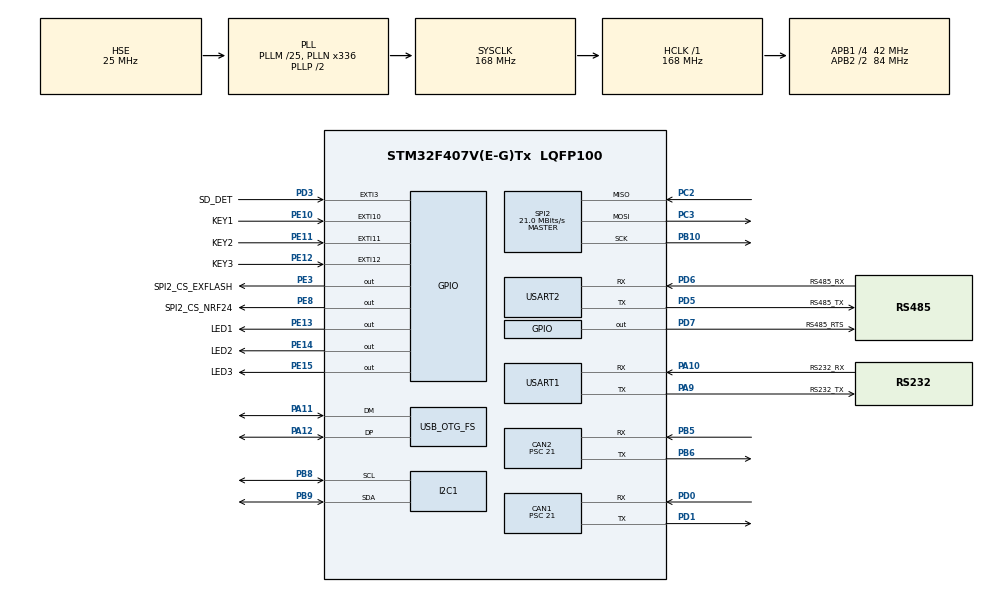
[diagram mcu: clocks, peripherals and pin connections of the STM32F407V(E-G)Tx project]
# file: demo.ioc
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CAN1.ABOM=ENABLE
CAN1.BS1=CAN_BS1_13TQ
CAN1.BS2=CAN_BS2_2TQ
CAN1.CalculateBaudRate=125000
CAN1.CalculateTimeBit=8000
CAN1.CalculateTimeQuantum=500.0
CAN1.Mode=CAN_MODE_LOOPBACK
CAN1.Prescaler=21
CAN1.RFLM=ENABLE
CAN1.SJW=CAN_SJW_2TQ
CAN1.TXFP=ENABLE
CAN2.ABOM=ENABLE
CAN2.BS1=CAN_BS1_13TQ
CAN2.BS2=CAN_BS2_2TQ
CAN2.CalculateBaudRate=125000
CAN2.CalculateTimeBit=8000
CAN2.CalculateTimeQuantum=500.0
CAN2.Mode=CAN_MODE_LOOPBACK
CAN2.NART=DISABLE
CAN2.Prescaler=21
CAN2.RFLM=ENABLE
CAN2.SJW=CAN_SJW_2TQ
CAN2.TXFP=ENABLE
Dma.Request0=USART1_RX
Dma.Request1=USART1_TX
Dma.USART1_RX.0.Direction=DMA_PERIPH_TO_MEMORY
Dma.USART1_RX.0.FIFOMode=DMA_FIFOMODE_DISABLE
Dma.USART1_RX.0.Instance=DMA2_Stream5
Dma.USART1_RX.0.MemDataAlignment=DMA_MDATAALIGN_BYTE
Dma.USART1_RX.0.MemInc=DMA_MINC_ENABLE
Dma.USART1_RX.0.Mode=DMA_CIRCULAR
Dma.USART1_RX.0.PeriphDataAlignment=DMA_PDATAALIGN_BYTE
Dma.USART1_RX.0.PeriphInc=DMA_PINC_DISABLE
Dma.USART1_RX.0.Priority=DMA_PRIORITY_LOW
Dma.USART1_TX.1.Direction=DMA_MEMORY_TO_PERIPH
Dma.USART1_TX.1.FIFOMode=DMA_FIFOMODE_DISABLE
Dma.USART1_TX.1.Instance=DMA2_Stream7
Dma.USART1_TX.1.MemDataAlignment=DMA_MDATAALIGN_BYTE
Dma.USART1_TX.1.MemInc=DMA_MINC_ENABLE
Dma.USART1_TX.1.Mode=DMA_NORMAL
Dma.USART1_TX.1.PeriphDataAlignment=DMA_PDATAALIGN_BYTE
Dma.USART1_TX.1.PeriphInc=DMA_PINC_DISABLE
Dma.USART1_TX.1.Priority=DMA_PRIORITY_LOW
Mcu.Family=STM32F4
Mcu.Name=STM32F407V(E-G)Tx
Mcu.Package=LQFP100
Mcu.UserConstants=CUSTOM_HID_EPIN_ADDR,0x81U;CUSTOM_HID_EPIN_SIZE,0x40U;CUSTOM_HID_EPOUT_ADDR,0x02U;CUSTOM_HID_EPOUT_SIZE,0x40U
NVIC.CAN1_RX0_IRQn=true\:0\:0\:false\:false\:true\:true\:true\:true
NVIC.CAN1_RX1_IRQn=true\:0\:0\:false\:false\:true\:true\:true\:true
NVIC.CAN2_RX0_IRQn=true\:0\:0\:false\:false\:true\:true\:true\:true
NVIC.CAN2_RX1_IRQn=true\:0\:0\:false\:false\:true\:true\:true\:true
NVIC.DMA2_Stream5_IRQn=true\:0\:0\:false\:false\:true\:false\:true\:true
NVIC.DMA2_Stream7_IRQn=true\:0\:0\:false\:false\:true\:false\:true\:true
NVIC.OTG_FS_IRQn=true\:0\:0\:false\:false\:true\:false\:true\:true
NVIC.PriorityGroup=NVIC_PRIORITYGROUP_4
NVIC.USART1_IRQn=true\:0\:0\:false\:false\:true\:true\:true\:true
PA10.GPIO_Label=RS232_RX
PA10.Mode=Asynchronous
PA10.Signal=USART1_RX
PA11.Mode=Device_Only
PA11.Signal=USB_OTG_FS_DM
PA12.Mode=Device_Only
PA12.Signal=USB_OTG_FS_DP
PA13.Mode=Serial_Wire
PA13.Signal=SYS_JTMS-SWDIO
PA14.Mode=Serial_Wire
PA14.Signal=SYS_JTCK-SWCLK
PA9.GPIO_Label=RS232_TX
PA9.Mode=Asynchronous
PA9.Signal=USART1_TX
PB10.Mode=Full_Duplex_Master
PB10.Signal=SPI2_SCK
PB5.Mode=CAN_Activate
PB5.Signal=CAN2_RX
PB6.Mode=CAN_Activate
PB6.Signal=CAN2_TX
PB8.Mode=I2C
PB8.Signal=I2C1_SCL
PB9.Mode=I2C
PB9.Signal=I2C1_SDA
PC2.Mode=Full_Duplex_Master
PC2.Signal=SPI2_MISO
PC3.Mode=Full_Duplex_Master
PC3.Signal=SPI2_MOSI
PD0.Mode=CAN_Activate
PD0.Signal=CAN1_RX
PD1.Mode=CAN_Activate
PD1.Signal=CAN1_TX
PD3.GPIO_Label=SD_DET
PD3.Signal=GPXTI3
PD5.GPIO_Label=RS485_TX
PD5.Mode=Asynchronous
PD5.Signal=USART2_TX
PD6.GPIO_Label=RS485_RX
PD6.Mode=Asynchronous
PD6.Signal=USART2_RX
PD7.GPIO_Label=RS485_RTS
PD7.GPIO_Speed=GPIO_SPEED_FREQ_HIGH
PD7.Signal=GPIO_Output
PE10.GPIO_Label=KEY1
PE10.GPIO_PuPd=GPIO_PULLUP
PE10.Signal=GPXTI10
PE11.GPIO_Label=KEY2
PE11.GPIO_PuPd=GPIO_PULLUP
PE11.Signal=GPXTI11
PE12.GPIO_Label=KEY3
PE12.GPIO_PuPd=GPIO_PULLUP
PE12.Signal=GPXTI12
PE13.GPIO_Label=LED1
PE13.GPIO_ModeDefaultOutputPP=GPIO_MODE_OUTPUT_PP
PE13.GPIO_PuPd=GPIO_PULLUP
PE13.GPIO_Speed=GPIO_SPEED_FREQ_HIGH
PE13.PinState=GPIO_PIN_SET
PE13.Signal=GPIO_Output
PE14.GPIO_Label=LED2
PE14.GPIO_ModeDefaultOutputPP=GPIO_MODE_OUTPUT_PP
PE14.GPIO_PuPd=GPIO_PULLUP
PE14.GPIO_Speed=GPIO_SPEED_FREQ_HIGH
PE14.PinState=GPIO_PIN_SET
PE14.Signal=GPIO_Output
PE15.GPIO_Label=LED3
PE15.GPIO_ModeDefaultOutputPP=GPIO_MODE_OUTPUT_PP
PE15.GPIO_PuPd=GPIO_PULLUP
PE15.GPIO_Speed=GPIO_SPEED_FREQ_HIGH
PE15.PinState=GPIO_PIN_SET
PE15.Signal=GPIO_Output
PE3.GPIO_Label=SPI2_CS_EXFLASH
PE3.GPIO_Speed=GPIO_SPEED_FREQ_HIGH
PE3.Signal=GPIO_Output
PE8.GPIO_Label=SPI2_CS_NRF24
PE8.GPIO_Speed=GPIO_SPEED_FREQ_HIGH
PE8.Signal=GPIO_Output
PH0-OSC_IN.Mode=HSE-External-Oscillator
PH0-OSC_IN.Signal=RCC_OSC_IN
PH1-OSC_OUT.Mode=HSE-External-Oscillator
PH1-OSC_OUT.Signal=RCC_OSC_OUT
ProjectManager.HeapSize=0x200
ProjectManager.StackSize=0x400
ProjectManager.TargetToolchain=MDK-ARM V5
RCC.48MHZClocksFreq_Value=48000000
RCC.AHBFreq_Value=168000000
RCC.APB1CLKDivider=RCC_HCLK_DIV4
RCC.APB1Freq_Value=42000000
RCC.APB1TimFreq_Value=84000000
RCC.APB2CLKDivider=RCC_HCLK_DIV2
RCC.APB2Freq_Value=84000000
RCC.APB2TimFreq_Value=168000000
RCC.CortexFreq_Value=168000000
RCC.HCLKFreq_Value=168000000
RCC.HSE_VALUE=25000000
RCC.HSI_VALUE=16000000
RCC.LSE_VALUE=32768
RCC.PLLM=25
RCC.PLLN=336
RCC.PLLQ=7
RCC.SYSCLKFreq_VALUE=168000000
RCC.SYSCLKSource=RCC_SYSCLKSOURCE_PLLCLK
RCC.VCOOutputFreq_Value=336000000
SPI2.CalculateBaudRate=21.0 MBits/s
SPI2.Direction=SPI_DIRECTION_2LINES
SPI2.Mode=SPI_MODE_MASTER
SPI2.VirtualType=VM_MASTER
USART1.VirtualMode=VM_ASYNC
USART2.VirtualMode=VM_ASYNC
USB_DEVICE.CLASS_NAME_FS=CUSTOM_HID
USB_DEVICE.CUSTOM_HID_FS_BINTERVAL=0x1
USB_DEVICE.USBD_CUSTOMHID_OUTREPORT_BUF_SIZE-CUSTOM_HID_FS=64
USB_DEVICE.USBD_CUSTOM_HID_REPORT_DESC_SIZE-CUSTOM_HID_FS=30
USB_DEVICE.VirtualMode-CUSTOM_HID_FS=CustomHid
USB_DEVICE.VirtualModeFS=Custom_Hid_FS
USB_OTG_FS.VirtualMode=Device_Only
USB_OTG_FS.lpm_enable=DISABLE
VP_USB_DEVICE_VS_USB_DEVICE_CUSTOM_HID_FS.Mode=CUSTOM_HID_FS
board=custom

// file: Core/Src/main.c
/* USER CODE BEGIN Header */
/**
 ******************************************************************************
 * @file           : main.c
 * @brief          : Main program body
 ******************************************************************************
 * @attention
 *
 * Copyright (c) 2023 STMicroelectronics.
 * All rights reserved.
 *
 * This software is licensed under terms that can be found in the LICENSE file
 * in the root directory of this software component.
 * If no LICENSE file comes with this software, it is provided AS-IS.
 *
 ******************************************************************************
 */
/* USER CODE END Header */
#include "main.h"
#include "usb_device.h"

/* USER CODE BEGIN Includes */
#include "stdio.h"
#include "usbd_customhid.h"
#include "system/delay.h"
/* USER CODE END Includes */

/* USER CODE BEGIN PD */

#define CONFIG_RXBUF_SIZE 256

// 采样点推荐（CiA）：
// BPS >  800Kpbs时，sample point at 75%
// BPS >  500Kbps时，sample point at 80%
// BPS <= 500Kbps时，sample point at 87.5%

#define CAN_BTR_1000K     0x012F0001  // sjw = 2, bs1 = 16, bs2 = 3, psc = 2,   Sample Point = 85.7 %
#define CAN_BTR_500K      0x012F0003  // sjw = 2, bs1 = 16, bs2 = 3, psc = 4,   Sample Point = 85.7 %
#define CAN_BTR_250K      0x00050014  // sjw = 1, bs1 = 6,  bs2 = 1, psc = 21,  Sample Point = 87.5 %
#define CAN_BTR_125K      0x001C0014  // sjw = 1, bs1 = 13, bs2 = 2, psc = 21,  Sample Point = 87.5 %
#define CAN_BTR_50K       0x00050068  // sjw = 1, bs1 = 6,  bs2 = 1, psc = 105, Sample Point = 87.5 %
#define CAN_BTR_10K       0x0005020C  // sjw = 1, bs1 = 6,  bs2 = 1, psc = 525, Sample Point = 87.5 %

#define ARRAY_SIZE(array) (sizeof(array) / sizeof(array[0]))

// rs232
#define UART1_SetTxDir()
#define UART1_SetRxDir()

// rs485
#define UART2_SetTxDir() HAL_GPIO_WritePin(RS485_RTS_GPIO_Port, RS485_RTS_Pin, GPIO_PIN_RESET), DelayBlockUS(80)
#define UART2_SetRxDir() HAL_GPIO_WritePin(RS485_RTS_GPIO_Port, RS485_RTS_Pin, GPIO_PIN_SET), DelayBlockUS(80)

/* USER CODE END PD */

CAN_HandleTypeDef hcan1;
CAN_HandleTypeDef hcan2;

I2C_HandleTypeDef hi2c1;

SPI_HandleTypeDef hspi2;

UART_HandleTypeDef huart1;
UART_HandleTypeDef huart2;
DMA_HandleTypeDef  hdma_usart1_rx;
DMA_HandleTypeDef  hdma_usart1_tx;

/* USER CODE BEGIN PV */

extern USBD_HandleTypeDef hUsbDeviceFS;

/* USER CODE END PV */

void        SystemClock_Config(void);
static void MX_GPIO_Init(void);
static void MX_DMA_Init(void);
static void MX_USART1_UART_Init(void);
static void MX_CAN1_Init(void);
static void MX_CAN2_Init(void);
static void MX_I2C1_Init(void);
static void MX_SPI2_Init(void);
static void MX_USART2_UART_Init(void);

/* USER CODE BEGIN 0 */

uint8_t mUart1Rxbuf[CONFIG_RXBUF_SIZE] = {0};
uint8_t mUart2Rxbuf[CONFIG_RXBUF_SIZE] = {0};

int fputc(int ch, FILE* f)
{
    HAL_UART_Transmit(&huart1, (uint8_t*)&ch, 1, 0xFF);
    return ch;
}

void USR_UART_RxCpltCallback(UART_HandleTypeDef* huart)
{
    // uart1: rs232
    // uart2: rs485

    if (huart->Instance == USART1)
    {
        if (__HAL_UART_GET_FLAG(&huart1, UART_FLAG_IDLE) == SET)
        {
            uint8_t length;

            __HAL_UART_CLEAR_IDLEFLAG(&huart1);
            HAL_UART_DMAStop(&huart1);

            length = ARRAY_SIZE(mUart1Rxbuf) - __HAL_DMA_GET_COUNTER(&hdma_usart1_rx);

            // send what recv
            // UART1_SetTxDir();
            // HAL_UART_Transmit_DMA(&huart1, mUart1Rxbuf, length);
        }
        else if (__HAL_UART_GET_FLAG(&huart1, UART_FLAG_TC) == SET)
        {
            UART1_SetRxDir();
            __HAL_DMA_SET_COUNTER(&hdma_usart1_rx, 0);
            HAL_UART_Receive_DMA(&huart1, mUart1Rxbuf, ARRAY_SIZE(mUart1Rxbuf));
        }
    }
}

void HexStr(uint8_t buff[2], uint8_t dec)
{
    uint8_t lo = dec & 0xF;
    uint8_t hi = dec >> 4;

    buff[0] = (lo < 10) ? ('0') : ('A' - 10);
    buff[1] = (hi < 10) ? ('0') : ('A' - 10);

    buff[0] += lo;
    buff[1] += hi;
}

void UploadBuffer(uint8_t* buff, uint16_t len)
{
    buff[len++] = '\r';
    buff[len++] = '\n';
    buff[len]   = '\0';

    UART1_SetTxDir();
    HAL_UART_Transmit_DMA(&huart1, buff, len);
}

void UploadCanRxMsg(CAN_RxHeaderTypeDef* hdr, uint8_t* msg)
{
    static uint8_t buff[64] = {"CAN RX: "};

    uint8_t idx = 8;
    uint8_t len = hdr->DLC;

    while (len--)
    {
        HexStr(&buff[idx], *msg);
        idx += 2;

        buff[idx] = ' ';
        idx += 1;

        msg++;
    }

    UploadBuffer(buff, idx);
}

void UploadCanTxMsg(CAN_TxHeaderTypeDef* hdr, uint8_t* msg)
{
    static uint8_t buff[64] = {"CAN TX: "};

    uint8_t idx = 8;
    uint8_t len = hdr->DLC;

    while (len--)
    {
        HexStr(&buff[idx], *msg);
        idx += 2;

        buff[idx] = ' ';
        idx += 1;

        msg++;
    }

    UploadBuffer(buff, idx);
}

void HAL_CAN_RxFifo0MsgPendingCallback(CAN_HandleTypeDef* hcan)
{
    // clang-format off
    CAN_RxHeaderTypeDef hdr;
    uint8_t rxMsg[8] = {0};
    // clang-format on

    HAL_CAN_GetRxMessage(hcan, CAN_RX_FIFO0, &hdr, rxMsg);

    if (hcan->Instance == CAN1)
    {
    }
    else if (hcan->Instance == CAN2)
    {
    }

    UploadCanRxMsg(&hdr, rxMsg);
}

void HAL_CAN_RxFifo1MsgPendingCallback(CAN_HandleTypeDef* hcan)
{
    // clang-format off
    CAN_RxHeaderTypeDef hdr;
    uint8_t rxMsg[8] = {0};
    // clang-format on

    HAL_CAN_GetRxMessage(hcan, CAN_RX_FIFO1, &hdr, rxMsg);

    // if (hcan == hcan1)
    if (hcan->Instance == CAN1)
    {
    }
    // else if (hcan == hcan2)
    else if (hcan->Instance == CAN2)
    {
    }

    UploadCanRxMsg(&hdr, rxMsg);
}

void UART1_Config()
{
    UART1_SetRxDir();
    __HAL_UART_ENABLE_IT(&huart1, UART_IT_IDLE | UART_IT_TC);
    HAL_UART_Receive_DMA(&huart1, mUart1Rxbuf, ARRAY_SIZE(mUart1Rxbuf));
}
void bsp_CAN_Filt_init(void)
{
    CAN_FilterTypeDef hcan_Filt;

    hcan_Filt.FilterIdHigh         = 0x0000;
    hcan_Filt.FilterIdLow          = 0x0000;
    hcan_Filt.FilterMaskIdHigh     = 0x0000;
    hcan_Filt.FilterMaskIdLow      = 0x0000;
    hcan_Filt.FilterFIFOAssignment = CAN_FILTER_FIFO0;  // FIFO0
    hcan_Filt.FilterBank           = 0;
    hcan_Filt.FilterMode           = CAN_FILTERMODE_IDMASK;
    hcan_Filt.FilterScale          = CAN_FILTERSCALE_32BIT;
    hcan_Filt.FilterActivation     = CAN_FILTER_ENABLE;

    HAL_CAN_ConfigFilter(&hcan1, &hcan_Filt);
    HAL_CAN_ActivateNotification(&hcan1, CAN_IT_RX_FIFO0_MSG_PENDING);  // FIFO0
    HAL_CAN_Start(&hcan1);

    hcan_Filt.FilterBank           = 14;
    hcan_Filt.SlaveStartFilterBank = 14;
    hcan_Filt.FilterFIFOAssignment = CAN_FILTER_FIFO1;  // FIFO1

    HAL_CAN_ConfigFilter(&hcan2, &hcan_Filt);
    HAL_CAN_ActivateNotification(&hcan2, CAN_IT_RX_FIFO1_MSG_PENDING);  // FIFO1
    HAL_CAN_Start(&hcan2);

    __HAL_CAN_ENABLE_IT(&hcan1, CAN_IT_RX_FIFO0_MSG_PENDING);
    __HAL_CAN_ENABLE_IT(&hcan2, CAN_IT_RX_FIFO1_MSG_PENDING);

    // HAL_CAN_Receive_IT(&hcan1, CAN_Filter_FIFO0);
    // HAL_CAN_Receive_IT(&hcan2, CAN_Filter_FIFO1);
}

void CAN1_Config(void)
{
    bsp_CAN_Filt_init();

    return;
    CAN_FilterTypeDef sFilterConfig = {
        .FilterIdHigh         = 0x0000,
        .FilterIdLow          = 0x0000,
        .FilterMaskIdHigh     = 0x0000,
        .FilterMaskIdLow      = 0x0000,
        .FilterFIFOAssignment = CAN_FILTER_FIFO0,
        .FilterBank           = 0,
        .FilterMode           = CAN_FILTERMODE_IDMASK,
        .FilterScale          = CAN_FILTERSCALE_32BIT,
        .FilterActivation     = CAN_FILTER_ENABLE,
        .SlaveStartFilterBank = 14,
    };

    // CAN1->MCR |= CAN_MCR_INRQ;
    // CAN1->BTR = CAN_BTR_1000K;
    // CAN1->MCR &= ~CAN_MCR_INRQ;

    // 0 < CAN1 FilterBank < SlaveStartFilterBank
    // SlaveStartFilterBank <= CAN2 FilterBank < 27
    HAL_CAN_ConfigFilter(&hcan1, &sFilterConfig);
    HAL_CAN_ActivateNotification(&hcan1, CAN_IT_RX_FIFO0_MSG_PENDING);
    // HAL_CAN_ActivateNotification(&hcan1, CAN_IT_RX_FIFO1_MSG_PENDING);
    HAL_CAN_Start(&hcan1);
}

void CAN1_Test(void)
{
    static CAN_TxHeaderTypeDef hdr = {
        .StdId              = 0x700 + 0x1,
        .ExtId              = 0,
        .IDE                = CAN_ID_STD,
        .RTR                = CAN_RTR_DATA,
        .DLC                = 8,
        .TransmitGlobalTime = DISABLE,
    };

    static uint8_t txMsg[8] = {0};

    uint32_t TxMailBox;

    if (HAL_CAN_AddTxMessage(&hcan1, &hdr, txMsg, &TxMailBox) == HAL_OK)
    {
        // success
        (*(uint64_t*)&txMsg[0])++;
    }
    else
    {
        // fail
        (*(uint64_t*)&txMsg[4])++;
    }

    // while (__HAL_DMA_GET_TC_FLAG_INDEX(&hdma_usart1_tx) == 0)
    // {
    // }

    DelayBlockS(1);
    UploadCanTxMsg(&hdr, txMsg);
}

void USB1_Test(void)
{
    static uint8_t bEP1_SendBuf[64] = {0};

    if (USBD_CUSTOM_HID_SendReport(&hUsbDeviceFS, bEP1_SendBuf, 64) == USBD_OK)
    {
        bEP1_SendBuf[0]++;
    }
}

/* USER CODE END 0 */

int main(void)
{

    /* MCU Configuration--------------------------------------------------------*/

    /* Reset of all peripherals, Initializes the Flash interface and the Systick. */
    HAL_Init();

    /* Configure the system clock */
    SystemClock_Config();

    /* Initialize all configured peripherals */
    MX_GPIO_Init();
    MX_DMA_Init();
    MX_USART1_UART_Init();
    MX_CAN1_Init();
    MX_CAN2_Init();
    MX_I2C1_Init();
    MX_SPI2_Init();
    MX_USART2_UART_Init();
    MX_USB_DEVICE_Init();
    /* USER CODE BEGIN 2 */

    UART1_Config();
    CAN1_Config();

    /* USER CODE END 2 */

    /* Infinite loop */
    /* USER CODE BEGIN WHILE */
    while (1)
    {
        USB1_Test();
        CAN1_Test();

        HAL_Delay(2000);
        /* USER CODE END WHILE */

    }
}

void SystemClock_Config(void)
{
    RCC_OscInitTypeDef RCC_OscInitStruct = {0};
    RCC_ClkInitTypeDef RCC_ClkInitStruct = {0};

    /** Configure the main internal regulator output voltage
     */
    __HAL_RCC_PWR_CLK_ENABLE();
    __HAL_PWR_VOLTAGESCALING_CONFIG(PWR_REGULATOR_VOLTAGE_SCALE1);

    /** Initializes the RCC Oscillators according to the specified parameters
     * in the RCC_OscInitTypeDef structure.
     */
    RCC_OscInitStruct.OscillatorType = RCC_OSCILLATORTYPE_HSE;
    RCC_OscInitStruct.HSEState       = RCC_HSE_ON;
    RCC_OscInitStruct.PLL.PLLState   = RCC_PLL_ON;
    RCC_OscInitStruct.PLL.PLLSource  = RCC_PLLSOURCE_HSE;
    RCC_OscInitStruct.PLL.PLLM       = 25;
    RCC_OscInitStruct.PLL.PLLN       = 336;
    RCC_OscInitStruct.PLL.PLLP       = RCC_PLLP_DIV2;
    RCC_OscInitStruct.PLL.PLLQ       = 7;
    if (HAL_RCC_OscConfig(&RCC_OscInitStruct) != HAL_OK)
    {
        Error_Handler();
    }

    /** Initializes the CPU, AHB and APB buses clocks
     */
    RCC_ClkInitStruct.ClockType      = RCC_CLOCKTYPE_HCLK | RCC_CLOCKTYPE_SYSCLK | RCC_CLOCKTYPE_PCLK1 | RCC_CLOCKTYPE_PCLK2;
    RCC_ClkInitStruct.SYSCLKSource   = RCC_SYSCLKSOURCE_PLLCLK;
    RCC_ClkInitStruct.AHBCLKDivider  = RCC_SYSCLK_DIV1;
    RCC_ClkInitStruct.APB1CLKDivider = RCC_HCLK_DIV4;
    RCC_ClkInitStruct.APB2CLKDivider = RCC_HCLK_DIV2;

    if (HAL_RCC_ClockConfig(&RCC_ClkInitStruct, FLASH_LATENCY_5) != HAL_OK)
    {
        Error_Handler();
    }
}

static void MX_CAN1_Init(void)
{

    hcan1.Instance                  = CAN1;
    hcan1.Init.Prescaler            = 21;
    hcan1.Init.Mode                 = CAN_MODE_LOOPBACK;
    hcan1.Init.SyncJumpWidth        = CAN_SJW_2TQ;
    hcan1.Init.TimeSeg1             = CAN_BS1_13TQ;
    hcan1.Init.TimeSeg2             = CAN_BS2_2TQ;
    hcan1.Init.TimeTriggeredMode    = DISABLE;
    hcan1.Init.AutoBusOff           = ENABLE;
    hcan1.Init.AutoWakeUp           = DISABLE;
    hcan1.Init.AutoRetransmission   = DISABLE;
    hcan1.Init.ReceiveFifoLocked    = ENABLE;
    hcan1.Init.TransmitFifoPriority = ENABLE;
    if (HAL_CAN_Init(&hcan1) != HAL_OK)
    {
        Error_Handler();
    }
}

static void MX_CAN2_Init(void)
{

    hcan2.Instance                  = CAN2;
    hcan2.Init.Prescaler            = 21;
    hcan2.Init.Mode                 = CAN_MODE_LOOPBACK;
    hcan2.Init.SyncJumpWidth        = CAN_SJW_2TQ;
    hcan2.Init.TimeSeg1             = CAN_BS1_13TQ;
    hcan2.Init.TimeSeg2             = CAN_BS2_2TQ;
    hcan2.Init.TimeTriggeredMode    = DISABLE;
    hcan2.Init.AutoBusOff           = ENABLE;
    hcan2.Init.AutoWakeUp           = DISABLE;
    hcan2.Init.AutoRetransmission   = DISABLE;
    hcan2.Init.ReceiveFifoLocked    = ENABLE;
    hcan2.Init.TransmitFifoPriority = ENABLE;
    if (HAL_CAN_Init(&hcan2) != HAL_OK)
    {
        Error_Handler();
    }
}

static void MX_I2C1_Init(void)
{

    hi2c1.Instance             = I2C1;
    hi2c1.Init.ClockSpeed      = 100000;
    hi2c1.Init.DutyCycle       = I2C_DUTYCYCLE_2;
    hi2c1.Init.OwnAddress1     = 0;
    hi2c1.Init.AddressingMode  = I2C_ADDRESSINGMODE_7BIT;
    hi2c1.Init.DualAddressMode = I2C_DUALADDRESS_DISABLE;
    hi2c1.Init.OwnAddress2     = 0;
    hi2c1.Init.GeneralCallMode = I2C_GENERALCALL_DISABLE;
    hi2c1.Init.NoStretchMode   = I2C_NOSTRETCH_DISABLE;
    if (HAL_I2C_Init(&hi2c1) != HAL_OK)
    {
        Error_Handler();
    }
}

static void MX_SPI2_Init(void)
{

    /* SPI2 parameter configuration*/
    hspi2.Instance               = SPI2;
    hspi2.Init.Mode              = SPI_MODE_MASTER;
    hspi2.Init.Direction         = SPI_DIRECTION_2LINES;
    hspi2.Init.DataSize          = SPI_DATASIZE_8BIT;
    hspi2.Init.CLKPolarity       = SPI_POLARITY_LOW;
    hspi2.Init.CLKPhase          = SPI_PHASE_1EDGE;
    hspi2.Init.NSS               = SPI_NSS_SOFT;
    hspi2.Init.BaudRatePrescaler = SPI_BAUDRATEPRESCALER_2;
    hspi2.Init.FirstBit          = SPI_FIRSTBIT_MSB;
    hspi2.Init.TIMode            = SPI_TIMODE_DISABLE;
    hspi2.Init.CRCCalculation    = SPI_CRCCALCULATION_DISABLE;
    hspi2.Init.CRCPolynomial     = 10;
    if (HAL_SPI_Init(&hspi2) != HAL_OK)
    {
        Error_Handler();
    }
}

static void MX_USART1_UART_Init(void)
{

    huart1.Instance          = USART1;
    huart1.Init.BaudRate     = 115200;
    huart1.Init.WordLength   = UART_WORDLENGTH_8B;
    huart1.Init.StopBits     = UART_STOPBITS_1;
    huart1.Init.Parity       = UART_PARITY_NONE;
    huart1.Init.Mode         = UART_MODE_TX_RX;
    huart1.Init.HwFlowCtl    = UART_HWCONTROL_NONE;
    huart1.Init.OverSampling = UART_OVERSAMPLING_16;
    if (HAL_UART_Init(&huart1) != HAL_OK)
    {
        Error_Handler();
    }
}

static void MX_USART2_UART_Init(void)
{

    huart2.Instance          = USART2;
    huart2.Init.BaudRate     = 115200;
    huart2.Init.WordLength   = UART_WORDLENGTH_8B;
    huart2.Init.StopBits     = UART_STOPBITS_1;
    huart2.Init.Parity       = UART_PARITY_NONE;
    huart2.Init.Mode         = UART_MODE_TX_RX;
    huart2.Init.HwFlowCtl    = UART_HWCONTROL_NONE;
    huart2.Init.OverSampling = UART_OVERSAMPLING_16;
    if (HAL_UART_Init(&huart2) != HAL_OK)
    {
        Error_Handler();
    }
}

static void MX_DMA_Init(void)
{
    /* DMA controller clock enable */
    __HAL_RCC_DMA2_CLK_ENABLE();

    /* DMA interrupt init */
    /* DMA2_Stream5_IRQn interrupt configuration */
    HAL_NVIC_SetPriority(DMA2_Stream5_IRQn, 0, 0);
    HAL_NVIC_EnableIRQ(DMA2_Stream5_IRQn);
    /* DMA2_Stream7_IRQn interrupt configuration */
    HAL_NVIC_SetPriority(DMA2_Stream7_IRQn, 0, 0);
    HAL_NVIC_EnableIRQ(DMA2_Stream7_IRQn);
}

static void MX_GPIO_Init(void)
{
    GPIO_InitTypeDef GPIO_InitStruct = {0};

    /* GPIO Ports Clock Enable */
    __HAL_RCC_GPIOE_CLK_ENABLE();
    __HAL_RCC_GPIOH_CLK_ENABLE();
    __HAL_RCC_GPIOC_CLK_ENABLE();
    __HAL_RCC_GPIOB_CLK_ENABLE();
    __HAL_RCC_GPIOA_CLK_ENABLE();
    __HAL_RCC_GPIOD_CLK_ENABLE();

    /*Configure GPIO pin Output Level */
    HAL_GPIO_WritePin(GPIOE, SPI2_CS_EXFLASH_Pin | SPI2_CS_NRF24_Pin, GPIO_PIN_RESET);

    /*Configure GPIO pin Output Level */
    HAL_GPIO_WritePin(GPIOE, LED1_Pin | LED2_Pin | LED3_Pin, GPIO_PIN_SET);

    /*Configure GPIO pin Output Level */
    HAL_GPIO_WritePin(RS485_RTS_GPIO_Port, RS485_RTS_Pin, GPIO_PIN_RESET);

    /*Configure GPIO pins : SPI2_CS_EXFLASH_Pin SPI2_CS_NRF24_Pin */
    GPIO_InitStruct.Pin   = SPI2_CS_EXFLASH_Pin | SPI2_CS_NRF24_Pin;
    GPIO_InitStruct.Mode  = GPIO_MODE_OUTPUT_PP;
    GPIO_InitStruct.Pull  = GPIO_NOPULL;
    GPIO_InitStruct.Speed = GPIO_SPEED_FREQ_HIGH;
    HAL_GPIO_Init(GPIOE, &GPIO_InitStruct);

    /*Configure GPIO pins : KEY1_Pin KEY2_Pin KEY3_Pin */
    GPIO_InitStruct.Pin  = KEY1_Pin | KEY2_Pin | KEY3_Pin;
    GPIO_InitStruct.Mode = GPIO_MODE_IT_RISING;
    GPIO_InitStruct.Pull = GPIO_PULLUP;
    HAL_GPIO_Init(GPIOE, &GPIO_InitStruct);

    /*Configure GPIO pins : LED1_Pin LED2_Pin LED3_Pin */
    GPIO_InitStruct.Pin   = LED1_Pin | LED2_Pin | LED3_Pin;
    GPIO_InitStruct.Mode  = GPIO_MODE_OUTPUT_PP;
    GPIO_InitStruct.Pull  = GPIO_PULLUP;
    GPIO_InitStruct.Speed = GPIO_SPEED_FREQ_HIGH;
    HAL_GPIO_Init(GPIOE, &GPIO_InitStruct);

    /*Configure GPIO pin : SD_DET_Pin */
    GPIO_InitStruct.Pin  = SD_DET_Pin;
    GPIO_InitStruct.Mode = GPIO_MODE_IT_RISING;
    GPIO_InitStruct.Pull = GPIO_NOPULL;
    HAL_GPIO_Init(SD_DET_GPIO_Port, &GPIO_InitStruct);

    /*Configure GPIO pin : RS485_RTS_Pin */
    GPIO_InitStruct.Pin   = RS485_RTS_Pin;
    GPIO_InitStruct.Mode  = GPIO_MODE_OUTPUT_PP;
    GPIO_InitStruct.Pull  = GPIO_NOPULL;
    GPIO_InitStruct.Speed = GPIO_SPEED_FREQ_HIGH;
    HAL_GPIO_Init(RS485_RTS_GPIO_Port, &GPIO_InitStruct);
}

void Error_Handler(void)
{
    __disable_irq();
    while (1)
    {
    }
}
